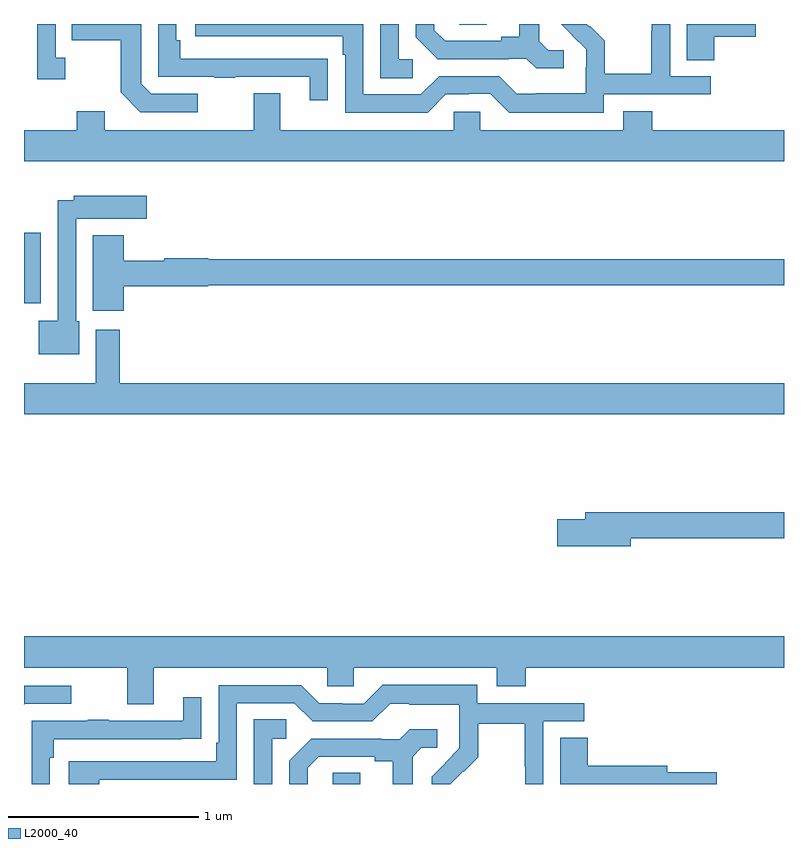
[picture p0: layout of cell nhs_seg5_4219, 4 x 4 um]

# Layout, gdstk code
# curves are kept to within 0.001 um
import gdstk
lib = gdstk.Library(unit=1e-6, precision=1e-09)
def R(c, l, rs):  # rectangles x0, y0, x1, y1
    for r in rs: c.add(gdstk.rectangle(r[:2], r[2:], *l))
def P(c, l, *ps):  # polygons
    for p in ps: c.add(gdstk.Polygon(p, *l))
L2000_40 = (2000, 40)

nhs_seg5_4219 = lib.new_cell('nhs_seg5_4219')
R(nhs_seg5_4219, L2000_40, [(360.624,870.799,360.769,870.857), (359,873.33,359.089,873.7), (361.29,874.795,361.435,874.799)])
P(nhs_seg5_4219, L2000_40, [(362.052,874.428),(362.614,874.428),(362.614,874.524),(362.4,874.524),(362.4,874.799),(362.304,874.799),(362.304,874.76),(362.302,874.76),(362.302,874.537),(362.057,874.537),(362.057,874.711),(361.98,874.788),(361.977,874.785),(361.963,874.799),(361.827,874.799),(361.958,874.666),(361.958,874.569),(361.956,874.569),(361.956,874.435),(361.693,874.435),(361.693,874.431),(361.593,874.431),(361.5,874.524),(361.185,874.524),(361.089,874.428),(360.786,874.428),(360.786,874.799),(359.901,874.799),(359.901,874.734),(360.677,874.734),(360.677,874.637),(360.69,874.637),(360.69,874.332),(361.125,874.332),(361.221,874.428),(361.34,874.428),(361.34,874.431),(361.455,874.431),(361.555,874.331),(362.052,874.331)],
  [(359.914,874.431),(359.67,874.431),(359.616,874.485),(359.616,874.799),(359.251,874.799),(359.251,874.714),(359.508,874.714),(359.508,874.441),(359.613,874.335),(359.914,874.335)],
  [(360.599,874.616),(360.497,874.616),(360.497,874.617),(359.822,874.617),(359.822,874.714),(359.802,874.714),(359.802,874.799),(359.706,874.799),(359.706,874.521),(360.001,874.521),(360.001,874.516),(360.113,874.516),(360.113,874.521),(360.503,874.521),(360.503,874.398),(360.599,874.398)],
  [(361.84,874.662),(361.758,874.662),(361.711,874.709),(361.711,874.799),(361.607,874.799),(361.607,874.733),(361.511,874.733),(361.511,874.71),(361.216,874.71),(361.159,874.767),(361.159,874.799),(361.062,874.799),(361.062,874.73),(361.178,874.614),(361.55,874.614),(361.55,874.617),(361.644,874.617),(361.696,874.565),(361.84,874.565)],
  [(361.045,874.614),(360.972,874.614),(360.972,874.799),(360.876,874.799),(360.876,874.513),(361.045,874.513)],
  [(362.633,874.733),(362.851,874.733),(362.851,874.799),(362.489,874.799),(362.489,874.609),(362.633,874.609)],
  [(359.218,874.622),(359.166,874.622),(359.166,874.799),(359.069,874.799),(359.069,874.509),(359.218,874.509)],
  [(363,874.24),(362.306,874.24),(362.306,874.339),(362.153,874.339),(362.153,874.24),(361.401,874.24),(361.401,874.338),(361.263,874.338),(361.263,874.24),(360.349,874.24),(360.349,874.435),(360.209,874.435),(360.209,874.24),(359.425,874.24),(359.425,874.339),(359.278,874.339),(359.278,874.24),(359,874.24),(359,874.076),(363,874.076)],
  [(359.29,873.234),(359.274,873.234),(359.274,873.774),(359.371,873.774),(359.371,873.773),(359.647,873.773),(359.647,873.895),(359.262,873.895),(359.262,873.872),(359.178,873.872),(359.178,873.238),(359.078,873.238),(359.078,873.062),(359.29,873.062)],
  [(359.525,873.419),(359.97,873.419),(359.97,873.424),(363,873.424),(363,873.56),(359.97,873.56),(359.97,873.566),(359.739,873.566),(359.739,873.553),(359.525,873.553),(359.525,873.688),(359.363,873.688),(359.363,873.291),(359.525,873.291)],
  [(363,872.908),(359.504,872.908),(359.504,873.19),(359.378,873.19),(359.378,872.908),(359,872.908),(359,872.744),(363,872.744)],
  [(362.194,872.092),(363,872.092),(363,872.228),(361.955,872.228),(361.955,872.192),(361.806,872.192),(361.806,872.05),(362.194,872.05)],
  [(359.683,871.412),(360.597,871.412),(360.597,871.314),(360.735,871.314),(360.735,871.412),(361.487,871.412),(361.487,871.313),(361.64,871.313),(361.64,871.412),(363,871.412),(363,871.576),(359,871.576),(359,871.412),(359.543,871.412),(359.543,871.218),(359.683,871.218)],
  [(359.396,870.822),(360.12,870.822),(360.12,871.224),(360.423,871.224),(360.519,871.128),(360.834,871.128),(360.927,871.221),(361.027,871.221),(361.027,871.217),(361.29,871.217),(361.29,871.083),(361.292,871.083),(361.292,870.986),(361.146,870.838),(361.146,870.799),(361.243,870.799),(361.311,870.867),(361.314,870.864),(361.391,870.941),(361.391,871.116),(361.636,871.116),(361.636,870.892),(361.638,870.892),(361.638,870.799),(361.734,870.799),(361.734,871.128),(361.948,871.128),(361.948,871.224),(361.386,871.224),(361.386,871.321),(360.889,871.321),(360.789,871.221),(360.674,871.221),(360.674,871.224),(360.555,871.224),(360.459,871.32),(360.024,871.32),(360.024,871.015),(360.011,871.015),(360.011,870.918),(359.235,870.918),(359.235,870.799),(359.396,870.799)],
  [(359.004,871.221),(359.248,871.221),(359.248,871.317),(359,871.317),(359,871.217)],
  [(359.136,870.938),(359.156,870.938),(359.156,871.035),(359.831,871.035),(359.831,871.036),(359.933,871.036),(359.933,871.255),(359.837,871.255),(359.837,871.131),(359.447,871.131),(359.447,871.136),(359.335,871.136),(359.335,871.131),(359.04,871.131),(359.04,870.799),(359.136,870.799)],
  [(360.306,871.038),(360.379,871.038),(360.379,871.139),(360.21,871.139),(360.21,870.799),(360.306,870.799)],
  [(360.493,870.885),(360.55,870.942),(360.845,870.942),(360.845,870.92),(360.941,870.92),(360.941,870.799),(361.045,870.799),(361.045,870.943),(361.092,870.99),(361.174,870.99),(361.174,871.087),(361.03,871.087),(360.978,871.035),(360.884,871.035),(360.884,871.038),(360.512,871.038),(360.396,870.922),(360.396,870.799),(360.493,870.799)],
  [(362.647,870.86),(362.386,870.86),(362.386,870.896),(361.967,870.896),(361.967,871.043),(361.823,871.043),(361.823,870.799),(362.647,870.799)])

lib.write_gds('nhs_seg5_4219.gds')
